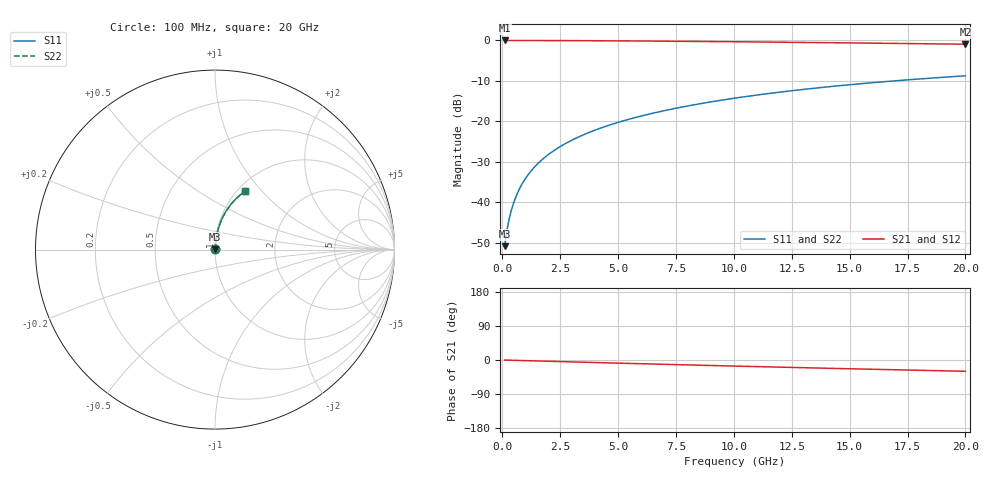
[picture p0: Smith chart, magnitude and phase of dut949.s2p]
! Touchstone file exported from HFSS 2024.1.0
!  File:  C:/UserFiles/LocalFiles/RDL_TSV_Batchsim/temp_RDL_bottom_949_1779942107.aedt
!  Generated:  12:24:36 PM May 28, 2026
!  Design:  RDL_bottom
!  Project:  temp_RDL_bottom_949_1779942107
!  Setup:  Setup1
!  Solution:  Sweep
! Variables:
!  dtsv = 10.80580581um
!  hbump = 3um
!  htsv = 92.13um
!  ldown = 341.67um
!  lrdl = 100um
!  p = 40
!  p1 = 57.4um
!  rhole = 1um
!  t = 450um
!  tdown = 4.65um
!  trdl = 3.915915916um
!  wdown = 13.3um
!  wrdl = 20um
# GHz S MA R 50.000000
! Terminal data exported
! Port[1] = RDL1_T1
! Port[2] = RDL1_T2
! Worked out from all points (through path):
!   200 points, 100 MHz to 20 GHz, reference 50 ohm
!   highest |S21| = -0.02 dB at 100 MHz (marker M1); lowest = -0.9 dB at 20 GHz (marker M2)
!   group delay of S21, straight-line fit = 4.13 ps
!   lowest |S11| = -50.8 dB at 100 MHz (marker M3), VSWR 1.01, Z = 50.2 + j0.201 ohm
!   |S11| at or under -10 dB: start of sweep to 16.93 GHz
!   |S22| runs from -50.8 to -8.7 dB; largest |S21 - S12| = 2.2e-15
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0.1  0.002873 44.3  0.9979 -0.2  0.9979 -0.2  0.002873 44.3
! Gamma 0 0 0 0
! Port Impedance 50 0 50 0
0.2  0.004478 62.0  0.9979 -0.3  0.9979 -0.3  0.004477 62.0
0.3  0.006272 70.0  0.9978 -0.5  0.9978 -0.5  0.006272 70.0
0.4  0.008139 74.5  0.9977 -0.7  0.9977 -0.7  0.008139 74.5
0.5  0.01004 77.2  0.9977 -0.9  0.9977 -0.9  0.01004 77.2
0.6  0.01196 79.0  0.9976 -1.0  0.9976 -1.0  0.01196 79.0
0.8  0.01582 81.2  0.9974 -1.4  0.9974 -1.4  0.01582 81.2
1.1  0.02164 82.8  0.9971 -1.9  0.9971 -1.9  0.02164 82.8
1.5  0.02941 83.7  0.9966 -2.5  0.9966 -2.5  0.02941 83.7
1.8  0.03523 84.0  0.9961 -3.1  0.9961 -3.1  0.03523 84.0
2.1  0.04105 84.1  0.9955 -3.6  0.9955 -3.6  0.04105 84.1
2.7  0.05266 84.0  0.9942 -4.6  0.9942 -4.6  0.05266 84.0
3.5  0.06813 83.5  0.9919 -5.9  0.9919 -5.9  0.06813 83.5
4.2  0.08165 82.9  0.9896 -7.0  0.9896 -7.0  0.08165 82.9
5  0.09709 82.1  0.9866 -8.3  0.9866 -8.3  0.09709 82.1
5.9  0.1144 81.1  0.9828 -9.7  0.9828 -9.7  0.1145 81.1
6.8  0.1318 80.1  0.9787 -11.2  0.9787 -11.2  0.1318 80.1
8.3  0.1605 78.3  0.9712 -13.5  0.9712 -13.5  0.1605 78.3
10.1  0.1946 75.9  0.9614 -16.2  0.9614 -16.2  0.1946 75.9
13.4  0.2552 71.5  0.9415 -20.9  0.9415 -20.9  0.2552 71.5
16.7  0.3123 67.1  0.9197 -25.5  0.9197 -25.5  0.3123 67.1
20  0.3652 62.7  0.8965 -29.8  0.8965 -29.8  0.3652 62.7
